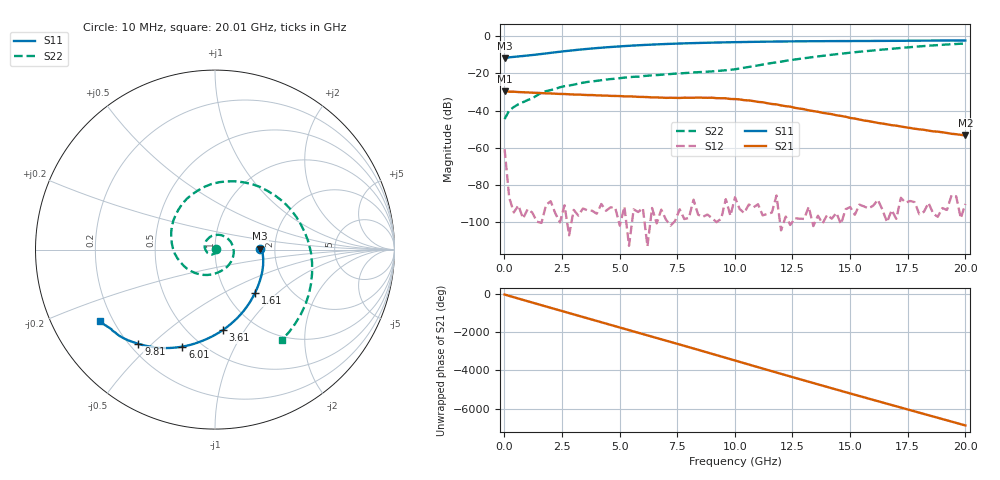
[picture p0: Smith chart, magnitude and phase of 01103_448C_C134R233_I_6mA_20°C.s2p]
!;Filter: kein Filter
!auto
!3/21/2019 9:27:54 AM
!3/21/2019 9:28:10 AM
!SP-Measurements Prober G4
!SP-Measurements Prober G4
!134
!233
!12
!20
!-20
!0.00599970
!2.02
!0.74959551
!0.74959551
# Hz S  RI  R 50
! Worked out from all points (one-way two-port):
!   101 points, 10 MHz to 20.01 GHz, reference 50 ohm
!   highest |S21| = -29.67 dB at 10 MHz (marker M1); lowest = -53.3 dB at 20.01 GHz (marker M2)
!   lowest |S11| = -12.0 dB at 10 MHz (marker M3), VSWR 1.67, Z = 83.6 + j1.07 ohm
!   |S11| at or under -10 dB: start of sweep to 1.388 GHz
!   |S22| runs from -44.6 to -4.1 dB; largest |S21 - S12| = 0.034
!   S11 on the Smith chart (normalised r, x): 10 MHz: 1.67, +0.02; 1.61 GHz: 1.35, -0.73; 3.61 GHz: 0.72, -0.80; 6.01 GHz: 0.40, -0.64; 9.81 GHz: 0.23, -0.45; 20.01 GHz: 0.15, -0.28
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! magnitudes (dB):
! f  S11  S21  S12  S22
! 10 MHz  -12.0  -29.7  -60.7  -44.6
! 210 MHz  -11.5  -29.9  -86.7  -39.9
! 610 MHz  -11.0  -30.1  -90.9  -36.6
! 1.21 GHz  -10.3  -30.4  -94.7  -33.5
! 1.61 GHz  -9.7  -30.6  -100.2  -30.4
! 2.61 GHz  -8.2  -31.1  -90.8  -26.9
! 3.41 GHz  -7.2  -31.6  -92.5  -25.1
! 3.61 GHz  -6.9  -31.7  -93.5  -24.7
! 4.41 GHz  -6.1  -32.0  -93.7  -23.4
! 6.01 GHz  -4.9  -32.7  -92.3  -21.5
! 6.81 GHz  -4.4  -33.1  -93.1  -20.8
! 9.01 GHz  -3.6  -33.1  -97.6  -19.0
! 9.61 GHz  -3.4  -33.4  -87.5  -18.4
! 9.81 GHz  -3.4  -33.8  -96.3  -18.2
! 10.01 GHz  -3.3  -33.9  -86.5  -17.9
! 11.21 GHz  -3.1  -35.6  -96.2  -15.4
! 12.41 GHz  -2.9  -37.9  -101.3  -13.0
! 13.41 GHz  -2.8  -40.3  -101.9  -11.3
! 15.21 GHz  -2.7  -44.3  -95.9  -8.7
! 16.81 GHz  -2.6  -47.8  -93.4  -6.9
! 18.61 GHz  -2.5  -51.1  -95.2  -5.1
! 20.01 GHz  -2.5  -53.3  -90.0  -4.1
